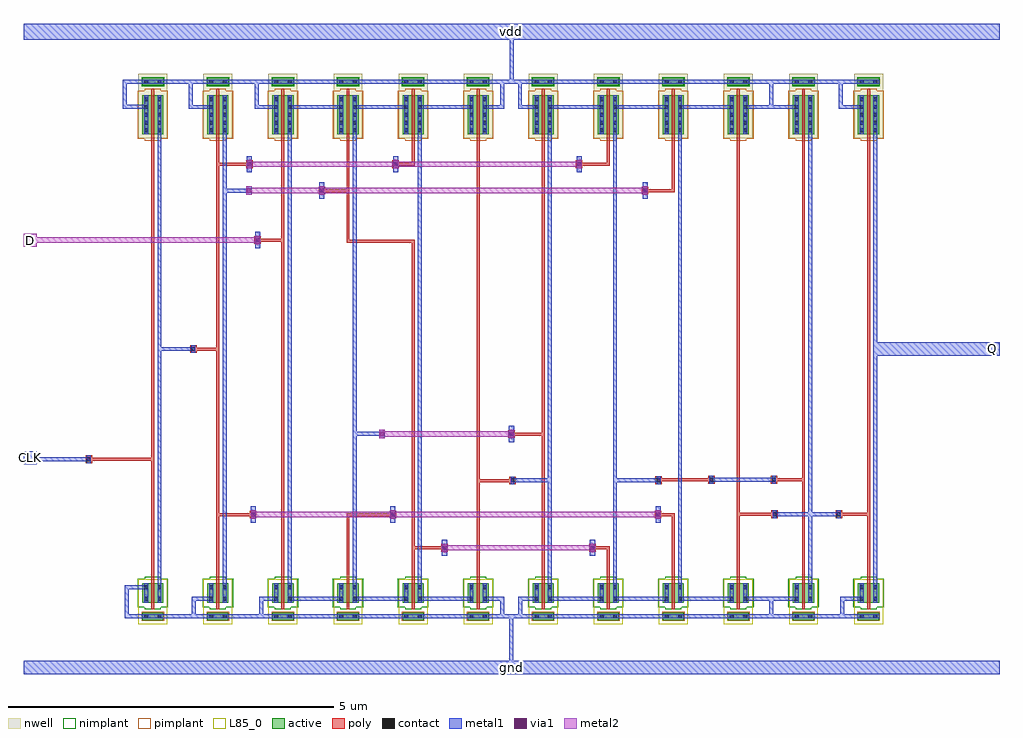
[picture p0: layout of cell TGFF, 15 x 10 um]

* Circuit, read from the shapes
.subckt TGFF CLK D Q gnd vdd
M1 nmos1v_3_CDNS_777985834760_1/D_drain_1 CLK gnd gnd nfet w=0.3u l=0.045u
M2 nmos1v_3_CDNS_777985834760_0/D_drain_1 nmos1v_3_CDNS_777985834760_1/D_drain_1 gnd gnd nfet w=0.3u l=0.045u
M3 nmos1v_3_CDNS_777985834760_10/D_drain_1 D gnd gnd nfet w=0.3u l=0.045u
M4 nmos1v_3_CDNS_777985834760_2/D_drain_1 nmos1v_3_CDNS_777985834760_1/D_drain_1 nmos1v_3_CDNS_777985834760_10/D_drain_1 gnd nfet w=0.3u l=0.045u
M5 nmos1v_3_CDNS_777985834760_6/D_drain_1 nmos1v_3_CDNS_777985834760_0/D_drain_1 nmos1v_3_CDNS_777985834760_2/D_drain_1 gnd nfet w=0.3u l=0.045u
M6 gnd nmos1v_3_CDNS_777985834760_4/D_drain_1 nmos1v_3_CDNS_777985834760_6/D_drain_1 gnd nfet w=0.3u l=0.045u
M7 nmos1v_3_CDNS_777985834760_4/D_drain_1 nmos1v_3_CDNS_777985834760_2/D_drain_1 gnd gnd nfet w=0.3u l=0.045u
M8 nmos1v_3_CDNS_777985834760_5/D_drain_1 nmos1v_3_CDNS_777985834760_0/D_drain_1 nmos1v_3_CDNS_777985834760_4/D_drain_1 gnd nfet w=0.3u l=0.045u
M9 nmos1v_3_CDNS_777985834760_3/D_drain_1 nmos1v_3_CDNS_777985834760_1/D_drain_1 nmos1v_3_CDNS_777985834760_5/D_drain_1 gnd nfet w=0.3u l=0.045u
M10 gnd nmos1v_3_CDNS_777985834760_11/D_drain_1 nmos1v_3_CDNS_777985834760_3/D_drain_1 gnd nfet w=0.3u l=0.045u
M11 nmos1v_3_CDNS_777985834760_11/D_drain_1 nmos1v_3_CDNS_777985834760_5/D_drain_1 gnd gnd nfet w=0.3u l=0.045u
M12 Q nmos1v_3_CDNS_777985834760_11/D_drain_1 gnd gnd nfet w=0.3u l=0.045u
M13 nmos1v_3_CDNS_777985834760_1/D_drain_1 CLK vdd vdd pfet w=0.6u l=0.045u
M14 nmos1v_3_CDNS_777985834760_0/D_drain_1 nmos1v_3_CDNS_777985834760_1/D_drain_1 vdd vdd pfet w=0.6u l=0.045u
M15 nmos1v_3_CDNS_777985834760_10/D_drain_1 D vdd vdd pfet w=0.6u l=0.045u
M16 nmos1v_3_CDNS_777985834760_2/D_drain_1 nmos1v_3_CDNS_777985834760_0/D_drain_1 nmos1v_3_CDNS_777985834760_10/D_drain_1 vdd pfet w=0.6u l=0.045u
M17 nmos1v_3_CDNS_777985834760_6/D_drain_1 nmos1v_3_CDNS_777985834760_1/D_drain_1 nmos1v_3_CDNS_777985834760_2/D_drain_1 vdd pfet w=0.6u l=0.045u
M18 vdd nmos1v_3_CDNS_777985834760_4/D_drain_1 nmos1v_3_CDNS_777985834760_6/D_drain_1 vdd pfet w=0.6u l=0.045u
M19 nmos1v_3_CDNS_777985834760_4/D_drain_1 nmos1v_3_CDNS_777985834760_2/D_drain_1 vdd vdd pfet w=0.6u l=0.045u
M20 nmos1v_3_CDNS_777985834760_5/D_drain_1 nmos1v_3_CDNS_777985834760_1/D_drain_1 nmos1v_3_CDNS_777985834760_4/D_drain_1 vdd pfet w=0.6u l=0.045u
M21 nmos1v_3_CDNS_777985834760_3/D_drain_1 nmos1v_3_CDNS_777985834760_0/D_drain_1 nmos1v_3_CDNS_777985834760_5/D_drain_1 vdd pfet w=0.6u l=0.045u
M22 vdd nmos1v_3_CDNS_777985834760_11/D_drain_1 nmos1v_3_CDNS_777985834760_3/D_drain_1 vdd pfet w=0.6u l=0.045u
M23 nmos1v_3_CDNS_777985834760_11/D_drain_1 nmos1v_3_CDNS_777985834760_5/D_drain_1 vdd vdd pfet w=0.6u l=0.045u
M24 Q nmos1v_3_CDNS_777985834760_11/D_drain_1 vdd vdd pfet w=0.6u l=0.045u
.ends

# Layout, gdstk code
from math import pi, radians
import gdstk
lib = gdstk.Library(unit=1e-6, precision=5e-10)
def R(c, l, rs):  # rectangles x0, y0, x1, y1
    for r in rs: c.add(gdstk.rectangle(r[:2], r[2:], *l))
def A(c, l, x, y, w, h, nx, ny, dx, dy):  # array of equal rectangles
    R(c, l, [(x+i*dx, y+j*dy, x+i*dx+w, y+j*dy+h) for i in range(nx) for j in range(ny)])
def P(c, l, *ps):  # polygons
    for p in ps: c.add(gdstk.Polygon(p, *l))
active = (1, 0)
nwell = (2, 0)
poly = (3, 0)
nimplant = (4, 0)
pimplant = (5, 0)
contact = (6, 0)
metal1 = (7, 0)
via1 = (8, 0)
metal2 = (9, 0)
L85_0 = (85, 0)

nmos1v_3_cdns_7779858347 = lib.new_cell('nmos1v_3_CDNS_777985834760')
R(nmos1v_3_cdns_7779858347, active, [(-0.14,-0.27,0.185,-0.15), (-0.14,0,0,0.3), (0,0,0.045,0.3), (0.045,0,0.185,0.3)])
R(nmos1v_3_cdns_7779858347, poly, [(0,-0.1,0.045,-0.05), (0,-0.05,0.045,0), (0,0,0.045,0.3), (0,0.3,0.045,0.35), (0,0.35,0.045,0.4)])
R(nmos1v_3_cdns_7779858347, nimplant, [(-0.1,-0.1,0.145,0.4), (-0.21,-0.07,0.255,0.37)])
R(nmos1v_3_cdns_7779858347, pimplant, [(-0.15,-0.28,0.195,-0.14)])
R(nmos1v_3_cdns_7779858347, contact, [(-0.11,-0.24,-0.05,-0.18), (0.095,-0.24,0.155,-0.18), (-0.11,0.03,-0.05,0.09), (0.095,0.03,0.155,0.09), (-0.11,0.21,-0.05,0.27), (0.095,0.21,0.155,0.27)])
R(nmos1v_3_cdns_7779858347, metal1, [(-0.14,-0.24,0.185,-0.18), (-0.11,0,-0.05,0.3), (0.095,0,0.155,0.3)])
R(nmos1v_3_cdns_7779858347, L85_0, [(-0.2,-0.33,0.245,0.36)])
nmos1v_3_cdns_7779858347.add(gdstk.Label('B_botTap', (0.0225,-0.21), layer=1, texttype=0))
nmos1v_3_cdns_7779858347.add(gdstk.Label('D_drain_1', (0.115,0.15), layer=1, texttype=0))
nmos1v_3_cdns_7779858347.add(gdstk.Label('S_source_0', (-0.07,0.15), layer=1, texttype=0))
nmos1v_3_cdns_7779858347.add(gdstk.Label('G_gate_1', (0.0225,-0.075), layer=3, texttype=0))
nmos1v_3_cdns_7779858347.add(gdstk.Label('G_gate_1', (0.0225,0.375), layer=3, texttype=0))
nmos1v_3_cdns_7779858347.add(gdstk.Label('B_botTap', (0.0225,-0.21), layer=7, texttype=0))
nmos1v_3_cdns_7779858347.add(gdstk.Label('D_drain_1', (0.125,0.15), layer=7, texttype=0))
nmos1v_3_cdns_7779858347.add(gdstk.Label('S_source_0', (-0.08,0.15), layer=7, texttype=0))
nmos1v_3_cdns_7779858347.add(gdstk.Label('B_botTap', (0.0225,0.015), layer=85, texttype=0))

pmos1v_3_cdns_7779858347 = lib.new_cell('pmos1v_3_CDNS_777985834761')
R(pmos1v_3_cdns_7779858347, active, [(-0.14,0,0,0.6), (0,0,0.045,0.6), (0.045,0,0.185,0.6), (-0.14,0.75,0.185,0.87)])
R(pmos1v_3_cdns_7779858347, nwell, [(-0.2,-0.06,0.245,0.93)])
R(pmos1v_3_cdns_7779858347, poly, [(0,-0.1,0.045,-0.05), (0,-0.05,0.045,0), (0,0,0.045,0.6), (0,0.6,0.045,0.65), (0,0.65,0.045,0.7)])
R(pmos1v_3_cdns_7779858347, nimplant, [(-0.15,0.74,0.195,0.88)])
R(pmos1v_3_cdns_7779858347, pimplant, [(-0.1,-0.1,0.145,0.7), (-0.21,-0.07,0.255,0.67)])
A(pmos1v_3_cdns_7779858347, contact, -0.11, 0.03, 0.06, 0.06, 1, 5, 0, 0.12)
A(pmos1v_3_cdns_7779858347, contact, 0.095, 0.03, 0.06, 0.06, 1, 5, 0, 0.12)
R(pmos1v_3_cdns_7779858347, contact, [(-0.11,0.78,-0.05,0.84), (0.095,0.78,0.155,0.84)])
R(pmos1v_3_cdns_7779858347, metal1, [(-0.11,0,-0.05,0.6), (0.095,0,0.155,0.6), (-0.14,0.78,0.185,0.84)])
pmos1v_3_cdns_7779858347.add(gdstk.Label('B_topTap', (0.0225,0.81), layer=1, texttype=0))
pmos1v_3_cdns_7779858347.add(gdstk.Label('D_drain_1', (0.115,0.3), layer=1, texttype=0))
pmos1v_3_cdns_7779858347.add(gdstk.Label('S_source_0', (-0.07,0.3), layer=1, texttype=0))
pmos1v_3_cdns_7779858347.add(gdstk.Label('G_gate_1', (0.0225,-0.075), layer=3, texttype=0))
pmos1v_3_cdns_7779858347.add(gdstk.Label('G_gate_1', (0.0225,0.675), layer=3, texttype=0))
pmos1v_3_cdns_7779858347.add(gdstk.Label('B_topTap', (0.0225,0.81), layer=7, texttype=0))
pmos1v_3_cdns_7779858347.add(gdstk.Label('D_drain_1', (0.125,0.3), layer=7, texttype=0))
pmos1v_3_cdns_7779858347.add(gdstk.Label('S_source_0', (-0.08,0.3), layer=7, texttype=0))
pmos1v_3_cdns_7779858347.add(gdstk.Label('B_topTap', (0.0225,0.435), layer=2, texttype=0))

m1_po_cdns_777985834760 = lib.new_cell('M1_PO_CDNS_777985834760')
R(m1_po_cdns_777985834760, poly, [(-0.05,-0.06,0.05,0.06)])
R(m1_po_cdns_777985834760, contact, [(-0.03,-0.03,0.03,0.03)])
R(m1_po_cdns_777985834760, metal1, [(-0.03,-0.06,0.03,0.06)])

m2_m1_cdns_777985834761 = lib.new_cell('M2_M1_CDNS_777985834761')
R(m2_m1_cdns_777985834761, metal1, [(-0.04,-0.125,0.04,0.125)])
R(m2_m1_cdns_777985834761, via1, [(-0.035,-0.035,0.035,0.035)])
R(m2_m1_cdns_777985834761, metal2, [(-0.04,-0.065,0.04,0.065)])

m1_po_cdns_777985834762 = lib.new_cell('M1_PO_CDNS_777985834762')
R(m1_po_cdns_777985834762, poly, [(-0.05,-0.06,0.05,0.06)])
R(m1_po_cdns_777985834762, contact, [(-0.03,-0.03,0.03,0.03)])
R(m1_po_cdns_777985834762, metal1, [(-0.04,-0.125,0.04,0.125)])

m2_m1_cdns_777985834763 = lib.new_cell('M2_M1_CDNS_777985834763')
R(m2_m1_cdns_777985834763, metal1, [(-0.04,-0.065,0.04,0.065)])
R(m2_m1_cdns_777985834763, via1, [(-0.035,-0.035,0.035,0.035)])
R(m2_m1_cdns_777985834763, metal2, [(-0.04,-0.065,0.04,0.065)])

tgff = lib.new_cell('TGFF')
P(tgff, poly, [(4.965,6.635),(4.965,8.2125),(4.975,8.2225),(5,8.2225),(5.01,8.2125),(5.01,6.635)])
R(tgff, metal1, [(0,0,15,0.21), (0,3.23,0.2,3.43), (14.8,4.9,15,5.1), (0,9.75,15,10)])
R(tgff, metal2, [(0,6.57,0.2,6.77)])
tgff.add(gdstk.FlexPath([(7.9875,1.5),(7.9875,3.6925)], 0.045, ends=(0, 0.0225), simple_path=True, layer=3, datatype=0))  # poly
tgff.add(gdstk.FlexPath([(7.5,3.6925),(7.9875,3.6925)], 0.045, ends=(0, 0.0225), simple_path=True, layer=3, datatype=0))  # poly
tgff.add(gdstk.FlexPath([(8.9875,7.8375),(8.54,7.8375)], 0.045, ends=(0.0225, 0), simple_path=True, layer=3, datatype=0))  # poly
tgff.add(gdstk.FlexPath([(8.9875,8.2),(8.9875,7.8375)], 0.045, ends=(0, 0.0225), simple_path=True, layer=3, datatype=0))  # poly
tgff.add(gdstk.FlexPath([(2.9875,8.2),(2.9875,7.8375)], 0.045, ends=(0, 0.0225), simple_path=True, layer=3, datatype=0))  # poly
tgff.add(gdstk.FlexPath([(3.47,7.8375),(2.9875,7.8375)], 0.045, ends=(0, 0.0225), simple_path=True, layer=3, datatype=0))  # poly
tgff.add(gdstk.FlexPath([(5.72,7.8375),(5.9875,7.8375)], 0.045, ends=(0, 0.0225), simple_path=True, layer=3, datatype=0))  # poly
tgff.add(gdstk.FlexPath([(5.9875,7.8375),(5.9875,8.2)], 0.045, ends=(0.0225, 0), simple_path=True, layer=3, datatype=0))  # poly
tgff.add(gdstk.FlexPath([(5.9875,6.6575),(5.9875,1.9425)], 0.045, ends="extended", simple_path=True, layer=3, datatype=0))  # poly
tgff.add(gdstk.FlexPath([(4.9875,6.6575),(4.985,6.6575)], 0.045, ends=(0.0225, 0), simple_path=True, layer=3, datatype=0))  # poly
tgff.add(gdstk.FlexPath([(4.9875,6.6575),(5.9875,6.6575)], 0.045, ends="extended", simple_path=True, layer=3, datatype=0))  # poly
tgff.add(gdstk.FlexPath([(5.9875,1.9425),(5.9875,1.5)], 0.045, ends=(0.0225, 0), simple_path=True, layer=3, datatype=0))  # poly
tgff.add(gdstk.FlexPath([(2.9875,7.8375),(2.9875,4.9975)], 0.045, ends="extended", simple_path=True, layer=3, datatype=0))  # poly
tgff.add(gdstk.FlexPath([(2.61,4.9975),(2.9875,4.9975)], 0.045, ends=(0, 0.0225), simple_path=True, layer=3, datatype=0))  # poly
tgff.add(gdstk.FlexPath([(2.9875,4.9975),(2.9875,2.4525)], 0.045, ends="extended", simple_path=True, layer=3, datatype=0))  # poly
tgff.add(gdstk.FlexPath([(3.53,2.4525),(2.9875,2.4525)], 0.045, ends=(0, 0.0225), simple_path=True, layer=3, datatype=0))  # poly
tgff.add(gdstk.FlexPath([(8.9875,1.9425),(8.745,1.9425)], 0.045, ends=(0.0225, 0), simple_path=True, layer=3, datatype=0))  # poly
tgff.add(gdstk.FlexPath([(4.9875,2.4525),(4.9875,1.5)], 0.045, ends=(0.0225, 0), simple_path=True, layer=3, datatype=0))  # poly
tgff.add(gdstk.FlexPath([(5.675,2.4525),(4.9875,2.4525)], 0.045, ends=(0, 0.0225), simple_path=True, layer=3, datatype=0))  # poly
tgff.add(gdstk.FlexPath([(9.9875,2.4525),(9.9875,1.5)], 0.045, ends=(0.0225, 0), simple_path=True, layer=3, datatype=0))  # poly
tgff.add(gdstk.FlexPath([(9.755,2.4525),(9.9875,2.4525)], 0.045, ends=(0, 0.0225), simple_path=True, layer=3, datatype=0))  # poly
tgff.add(gdstk.FlexPath([(9.9875,7.4325),(9.9875,8.2)], 0.045, ends=(0.0225, 0), simple_path=True, layer=3, datatype=0))  # poly
tgff.add(gdstk.FlexPath([(9.555,7.4325),(9.9875,7.4325)], 0.045, ends=(0, 0.0225), simple_path=True, layer=3, datatype=0))  # poly
tgff.add(gdstk.FlexPath([(4.9875,7.4325),(4.585,7.4325)], 0.045, ends=(0.0225, 0), simple_path=True, layer=3, datatype=0))  # poly
tgff.add(gdstk.FlexPath([(8.9875,1.5),(8.9875,1.9425)], 0.045, ends=(0, 0.0225), simple_path=True, layer=3, datatype=0))  # poly
tgff.add(gdstk.FlexPath([(3.9875,8.2),(3.9875,6.6725)], 0.045, ends=(0, 0.0225), simple_path=True, layer=3, datatype=0))  # poly
tgff.add(gdstk.FlexPath([(3.6,6.6725),(3.9875,6.6725)], 0.045, ends=(0, 0.0225), simple_path=True, layer=3, datatype=0))  # poly
tgff.add(gdstk.FlexPath([(1.9875,8.2),(1.9875,3.3025)], 0.045, ends=(0, 0.0225), simple_path=True, layer=3, datatype=0))  # poly
tgff.add(gdstk.FlexPath([(1.005,3.3025),(1.9875,3.3025)], 0.045, ends=(0, 0.0225), simple_path=True, layer=3, datatype=0))  # poly
tgff.add(gdstk.FlexPath([(6.9875,8.2),(6.9875,2.9775)], 0.045, ends=(0, 0.0225), simple_path=True, layer=3, datatype=0))  # poly
tgff.add(gdstk.FlexPath([(7.515,2.9775),(6.9875,2.9775)], 0.045, ends=(0, 0.0225), simple_path=True, layer=3, datatype=0))  # poly
tgff.add(gdstk.FlexPath([(9.7575,2.9875),(9.7575,2.985)], 0.045, ends=(0.0225, 0), simple_path=True, layer=3, datatype=0))  # poly
tgff.add(gdstk.FlexPath([(10.57,2.9875),(9.7575,2.9875)], 0.045, ends=(0, 0.0225), simple_path=True, layer=3, datatype=0))  # poly
tgff.add(gdstk.FlexPath([(6.47,1.9425),(5.9875,1.9425)], 0.045, ends=(0, 0.0225), simple_path=True, layer=3, datatype=0))  # poly
tgff.add(gdstk.FlexPath([(11.535,2.9875),(11.9875,2.9875)], 0.045, ends=(0, 0.0225), simple_path=True, layer=3, datatype=0))  # poly
tgff.add(gdstk.FlexPath([(10.9875,8.2),(10.9875,2.4575)], 0.045, ends=(0, 0.0225), simple_path=True, layer=3, datatype=0))  # poly
tgff.add(gdstk.FlexPath([(11.545,2.4575),(10.9875,2.4575)], 0.045, ends=(0, 0.0225), simple_path=True, layer=3, datatype=0))  # poly
tgff.add(gdstk.FlexPath([(12.9875,8.2),(12.9875,2.4575)], 0.045, ends=(0, 0.0225), simple_path=True, layer=3, datatype=0))  # poly
tgff.add(gdstk.FlexPath([(12.53,2.4575),(12.9875,2.4575)], 0.045, ends=(0, 0.0225), simple_path=True, layer=3, datatype=0))  # poly
tgff.add(gdstk.FlexPath([(12.9875,2.4575),(12.9875,1.5)], 0.045, ends=(0.0225, 0), simple_path=True, layer=3, datatype=0))  # poly
tgff.add(gdstk.FlexPath([(11.9875,1.5),(11.9875,8.2)], 0.045, ends="flush", simple_path=True, layer=3, datatype=0))  # poly
tgff.add(gdstk.FlexPath([(10.9875,2.4575),(10.9875,1.5)], 0.045, ends=(0.0225, 0), simple_path=True, layer=3, datatype=0))  # poly
tgff.add(gdstk.FlexPath([(7.9875,3.6925),(7.9875,8.2)], 0.045, ends=(0.0225, 0), simple_path=True, layer=3, datatype=0))  # poly
tgff.add(gdstk.FlexPath([(6.9875,2.9775),(6.9875,1.5)], 0.045, ends=(0.0225, 0), simple_path=True, layer=3, datatype=0))  # poly
tgff.add(gdstk.FlexPath([(3.9875,6.6725),(3.9875,1.5)], 0.045, ends=(0.0225, 0), simple_path=True, layer=3, datatype=0))  # poly
tgff.add(gdstk.FlexPath([(2.9875,2.4525),(2.9875,1.5)], 0.045, ends=(0.0225, 0), simple_path=True, layer=3, datatype=0))  # poly
tgff.add(gdstk.FlexPath([(1.9875,3.3025),(1.9875,1.5)], 0.045, ends=(0.0225, 0), simple_path=True, layer=3, datatype=0))  # poly
tgff.add(gdstk.FlexPath([(5.51,3.695),(5.09,3.695)], 0.06, ends=(0, 0.03), simple_path=True, layer=7, datatype=0))  # metal1
tgff.add(gdstk.FlexPath([(5.09,3.695),(5.09,1.4)], 0.06, ends=(0.03, 0), simple_path=True, layer=7, datatype=0))  # metal1
tgff.add(gdstk.FlexPath([(2.09,8.3),(2.09,5)], 0.06, ends=(0, 0.03), simple_path=True, layer=7, datatype=0))  # metal1
tgff.add(gdstk.FlexPath([(2.61,5),(2.09,5)], 0.06, ends=(0, 0.03), simple_path=True, layer=7, datatype=0))  # metal1
tgff.add(gdstk.FlexPath([(3.09,7.435),(3.465,7.435)], 0.06, ends=(0.03, 0), simple_path=True, layer=7, datatype=0))  # metal1
tgff.add(gdstk.FlexPath([(3.09,7.435),(3.09,1.4)], 0.06, ends=(0.03, 0), simple_path=True, layer=7, datatype=0))  # metal1
tgff.add(gdstk.FlexPath([(8.15,9.11),(11.495,9.11)], 0.06, ends=(0, 0.03), simple_path=True, layer=7, datatype=0))  # metal1
tgff.add(gdstk.FlexPath([(1.005,3.305),(0.2,3.305)], 0.06, ends="flush", simple_path=True, layer=7, datatype=0))  # metal1
tgff.add(gdstk.FlexPath([(8.09,8.3),(8.09,2.98)], 0.06, ends=(0, 0.03), simple_path=True, layer=7, datatype=0))  # metal1
tgff.add(gdstk.FlexPath([(7.515,2.98),(8.09,2.98)], 0.06, ends=(0, 0.03), simple_path=True, layer=7, datatype=0))  # metal1
tgff.add(gdstk.FlexPath([(9.76,2.985),(9.09,2.985)], 0.06, ends=(0, 0.03), simple_path=True, layer=7, datatype=0))  # metal1
tgff.add(gdstk.FlexPath([(10.57,2.99),(11.535,2.99)], 0.06, ends="flush", simple_path=True, layer=7, datatype=0))  # metal1
tgff.add(gdstk.FlexPath([(11.545,2.46),(12.09,2.46)], 0.06, ends=(0, 0.03), simple_path=True, layer=7, datatype=0))  # metal1
tgff.add(gdstk.FlexPath([(12.09,8.3),(12.09,2.46)], 0.06, ends=(0, 0.03), simple_path=True, layer=7, datatype=0))  # metal1
tgff.add(gdstk.FlexPath([(12.53,2.46),(12.09,2.46)], 0.06, ends=(0, 0.03), simple_path=True, layer=7, datatype=0))  # metal1
tgff.add(gdstk.FlexPath([(11.49,0.89),(12.585,0.89)], 0.06, ends="extended", simple_path=True, layer=7, datatype=0))  # metal1
tgff.add(gdstk.FlexPath([(12.585,1.16),(12.585,0.89)], 0.06, ends="extended", simple_path=True, layer=7, datatype=0))  # metal1
tgff.add(gdstk.FlexPath([(12.885,1.16),(12.585,1.16)], 0.06, ends="extended", simple_path=True, layer=7, datatype=0))  # metal1
tgff.add(gdstk.FlexPath([(8.15,0.89),(11.49,0.89)], 0.06, ends=(0, 0.03), simple_path=True, layer=7, datatype=0))  # metal1
tgff.add(gdstk.FlexPath([(11.49,1.16),(11.49,0.89)], 0.06, ends="extended", simple_path=True, layer=7, datatype=0))  # metal1
tgff.add(gdstk.FlexPath([(11.49,1.16),(11.915,1.16)], 0.06, ends=(0.03, 0), simple_path=True, layer=7, datatype=0))  # metal1
tgff.add(gdstk.FlexPath([(11.09,1.16),(11.49,1.16)], 0.06, ends="extended", simple_path=True, layer=7, datatype=0))  # metal1
tgff.add(gdstk.FlexPath([(10.09,1.16),(10.915,1.16)], 0.06, ends=(0.03, 0), simple_path=True, layer=7, datatype=0))  # metal1
tgff.add(gdstk.FlexPath([(9.885,1.16),(9.885,1.1)], 0.06, ends=(0.03, 0), simple_path=True, layer=7, datatype=0))  # metal1
tgff.add(gdstk.FlexPath([(9.09,1.16),(9.885,1.16)], 0.06, ends="extended", simple_path=True, layer=7, datatype=0))  # metal1
tgff.add(gdstk.FlexPath([(8.09,1.16),(8.915,1.16)], 0.06, ends=(0.03, 0), simple_path=True, layer=7, datatype=0))  # metal1
tgff.add(gdstk.FlexPath([(7.495,0.89),(7.635,0.89)], 0.06, ends="extended", simple_path=True, layer=7, datatype=0))  # metal1
tgff.add(gdstk.FlexPath([(7.635,1.16),(7.635,0.89)], 0.06, ends="extended", simple_path=True, layer=7, datatype=0))  # metal1
tgff.add(gdstk.FlexPath([(7.885,1.16),(7.635,1.16)], 0.06, ends="extended", simple_path=True, layer=7, datatype=0))  # metal1
tgff.add(gdstk.FlexPath([(7.15,0.89),(7.355,0.89)], 0.06, ends=(0, 0.03), simple_path=True, layer=7, datatype=0))  # metal1
tgff.add(gdstk.FlexPath([(7.355,1.16),(7.355,0.89)], 0.06, ends="extended", simple_path=True, layer=7, datatype=0))  # metal1
tgff.add(gdstk.FlexPath([(7.09,1.16),(7.355,1.16)], 0.06, ends="extended", simple_path=True, layer=7, datatype=0))  # metal1
tgff.add(gdstk.FlexPath([(6.885,1.16),(6.885,1.1)], 0.06, ends=(0.03, 0), simple_path=True, layer=7, datatype=0))  # metal1
tgff.add(gdstk.FlexPath([(6.09,1.16),(6.885,1.16)], 0.06, ends="extended", simple_path=True, layer=7, datatype=0))  # metal1
tgff.add(gdstk.FlexPath([(5.09,1.16),(5.915,1.16)], 0.06, ends=(0.03, 0), simple_path=True, layer=7, datatype=0))  # metal1
tgff.add(gdstk.FlexPath([(4.09,1.16),(4.855,1.16)], 0.06, ends=(0.03, 0), simple_path=True, layer=7, datatype=0))  # metal1
tgff.add(gdstk.FlexPath([(6.825,0.89),(3.655,0.89)], 0.06, ends=(0, 0.03), simple_path=True, layer=7, datatype=0))  # metal1
tgff.add(gdstk.FlexPath([(3.655,1.16),(3.655,0.89)], 0.06, ends="extended", simple_path=True, layer=7, datatype=0))  # metal1
tgff.add(gdstk.FlexPath([(3.885,1.16),(3.655,1.16)], 0.06, ends="extended", simple_path=True, layer=7, datatype=0))  # metal1
tgff.add(gdstk.FlexPath([(3.655,0.89),(2.615,0.89)], 0.06, ends="extended", simple_path=True, layer=7, datatype=0))  # metal1
tgff.add(gdstk.FlexPath([(2.615,1.16),(2.615,0.89)], 0.06, ends="extended", simple_path=True, layer=7, datatype=0))  # metal1
tgff.add(gdstk.FlexPath([(2.885,1.16),(2.615,1.16)], 0.06, ends="extended", simple_path=True, layer=7, datatype=0))  # metal1
tgff.add(gdstk.FlexPath([(1.585,0.89),(1.825,0.89)], 0.06, ends=(0.03, 0), simple_path=True, layer=7, datatype=0))  # metal1
tgff.add(gdstk.FlexPath([(1.585,1.34),(1.585,0.89)], 0.06, ends="extended", simple_path=True, layer=7, datatype=0))  # metal1
tgff.add(gdstk.FlexPath([(1.885,1.34),(1.585,1.34)], 0.06, ends="extended", simple_path=True, layer=7, datatype=0))  # metal1
tgff.add(gdstk.FlexPath([(13.09,1.4),(13.09,5)], 0.06, ends=(0, 0.1), simple_path=True, layer=7, datatype=0))  # metal1
tgff.add(gdstk.FlexPath([(14.8,5),(13.09,5)], 0.2, ends=(0, 0.03), simple_path=True, layer=7, datatype=0))  # metal1
tgff.add(gdstk.FlexPath([(13.09,5),(13.09,8.3)], 0.06, ends=(0.1, 0), simple_path=True, layer=7, datatype=0))  # metal1
tgff.add(gdstk.FlexPath([(6.09,8.72),(6.915,8.72)], 0.06, ends=(0.03, 0), simple_path=True, layer=7, datatype=0))  # metal1
tgff.add(gdstk.FlexPath([(5.09,8.72),(5.915,8.72)], 0.06, ends=(0.03, 0), simple_path=True, layer=7, datatype=0))  # metal1
tgff.add(gdstk.FlexPath([(4.09,8.72),(4.915,8.72)], 0.06, ends=(0.03, 0), simple_path=True, layer=7, datatype=0))  # metal1
tgff.add(gdstk.FlexPath([(11.495,9.11),(12.56,9.11)], 0.06, ends="extended", simple_path=True, layer=7, datatype=0))  # metal1
tgff.add(gdstk.FlexPath([(12.56,8.72),(12.56,9.11)], 0.06, ends="extended", simple_path=True, layer=7, datatype=0))  # metal1
tgff.add(gdstk.FlexPath([(12.885,8.72),(12.56,8.72)], 0.06, ends="extended", simple_path=True, layer=7, datatype=0))  # metal1
tgff.add(gdstk.FlexPath([(11.495,8.72),(11.495,9.11)], 0.06, ends="extended", simple_path=True, layer=7, datatype=0))  # metal1
tgff.add(gdstk.FlexPath([(11.885,8.72),(11.495,8.72)], 0.06, ends="extended", simple_path=True, layer=7, datatype=0))  # metal1
tgff.add(gdstk.FlexPath([(11.495,8.72),(11.06,8.72)], 0.06, ends=(0.03, 0), simple_path=True, layer=7, datatype=0))  # metal1
tgff.add(gdstk.FlexPath([(10.09,8.72),(10.915,8.72)], 0.06, ends=(0.03, 0), simple_path=True, layer=7, datatype=0))  # metal1
tgff.add(gdstk.FlexPath([(9.09,8.72),(9.855,8.72)], 0.06, ends=(0.03, 0), simple_path=True, layer=7, datatype=0))  # metal1
tgff.add(gdstk.FlexPath([(8.885,8.72),(8.06,8.72)], 0.06, ends=(0.03, 0), simple_path=True, layer=7, datatype=0))  # metal1
tgff.add(gdstk.FlexPath([(7.505,9.11),(7.63,9.11)], 0.06, ends="extended", simple_path=True, layer=7, datatype=0))  # metal1
tgff.add(gdstk.FlexPath([(7.63,8.72),(7.63,9.11)], 0.06, ends="extended", simple_path=True, layer=7, datatype=0))  # metal1
tgff.add(gdstk.FlexPath([(7.885,8.72),(7.63,8.72)], 0.06, ends="extended", simple_path=True, layer=7, datatype=0))  # metal1
tgff.add(gdstk.FlexPath([(7.15,9.11),(7.355,9.11)], 0.06, ends=(0, 0.03), simple_path=True, layer=7, datatype=0))  # metal1
tgff.add(gdstk.FlexPath([(7.355,8.72),(7.355,9.11)], 0.06, ends="extended", simple_path=True, layer=7, datatype=0))  # metal1
tgff.add(gdstk.FlexPath([(7.09,8.72),(7.355,8.72)], 0.06, ends="extended", simple_path=True, layer=7, datatype=0))  # metal1
tgff.add(gdstk.FlexPath([(6.825,9.11),(3.585,9.11)], 0.06, ends=(0, 0.03), simple_path=True, layer=7, datatype=0))  # metal1
tgff.add(gdstk.FlexPath([(3.585,8.72),(3.585,9.11)], 0.06, ends="extended", simple_path=True, layer=7, datatype=0))  # metal1
tgff.add(gdstk.FlexPath([(3.885,8.72),(3.585,8.72)], 0.06, ends="extended", simple_path=True, layer=7, datatype=0))  # metal1
tgff.add(gdstk.FlexPath([(3.585,9.11),(2.57,9.11)], 0.06, ends="extended", simple_path=True, layer=7, datatype=0))  # metal1
tgff.add(gdstk.FlexPath([(2.57,8.72),(2.57,9.11)], 0.06, ends="extended", simple_path=True, layer=7, datatype=0))  # metal1
tgff.add(gdstk.FlexPath([(2.885,8.72),(2.57,8.72)], 0.06, ends="extended", simple_path=True, layer=7, datatype=0))  # metal1
tgff.add(gdstk.FlexPath([(1.555,9.11),(1.825,9.11)], 0.06, ends=(0.03, 0), simple_path=True, layer=7, datatype=0))  # metal1
tgff.add(gdstk.FlexPath([(1.555,8.725),(1.555,9.11)], 0.06, ends="extended", simple_path=True, layer=7, datatype=0))  # metal1
tgff.add(gdstk.FlexPath([(1.885,8.725),(1.555,8.725)], 0.06, ends="extended", simple_path=True, layer=7, datatype=0))  # metal1
tgff.add(gdstk.FlexPath([(10.09,8.3),(10.09,1.4)], 0.06, ends="flush", simple_path=True, layer=7, datatype=0))  # metal1
tgff.add(gdstk.FlexPath([(9.09,8.3),(9.09,1.4)], 0.06, ends="flush", simple_path=True, layer=7, datatype=0))  # metal1
tgff.add(gdstk.FlexPath([(8.09,2.98),(8.09,1.4)], 0.06, ends=(0.03, 0), simple_path=True, layer=7, datatype=0))  # metal1
tgff.add(gdstk.FlexPath([(12.09,2.46),(12.09,1.4)], 0.06, ends=(0.03, 0), simple_path=True, layer=7, datatype=0))  # metal1
tgff.add(gdstk.FlexPath([(6.09,8.3),(6.09,1.4)], 0.06, ends="flush", simple_path=True, layer=7, datatype=0))  # metal1
tgff.add(gdstk.FlexPath([(5.09,8.3),(5.09,3.695)], 0.06, ends=(0, 0.03), simple_path=True, layer=7, datatype=0))  # metal1
tgff.add(gdstk.FlexPath([(4.09,8.3),(4.09,1.4)], 0.06, ends="flush", simple_path=True, layer=7, datatype=0))  # metal1
tgff.add(gdstk.FlexPath([(3.09,8.3),(3.09,7.435)], 0.06, ends=(0, 0.03), simple_path=True, layer=7, datatype=0))  # metal1
tgff.add(gdstk.FlexPath([(2.09,5),(2.09,1.4)], 0.06, ends=(0.03, 0), simple_path=True, layer=7, datatype=0))  # metal1
tgff.add(gdstk.FlexPath([(2.57,9.11),(2.15,9.11)], 0.06, ends=(0.03, 0), simple_path=True, layer=7, datatype=0))  # metal1
tgff.add(gdstk.FlexPath([(12.56,9.11),(12.825,9.11)], 0.06, ends=(0.03, 0), simple_path=True, layer=7, datatype=0))  # metal1
tgff.add(gdstk.FlexPath([(7.505,9.11),(7.505,9.75)], 0.06, ends=(0.03, 0), simple_path=True, layer=7, datatype=0))  # metal1
tgff.add(gdstk.FlexPath([(7.63,9.11),(7.825,9.11)], 0.06, ends=(0.03, 0), simple_path=True, layer=7, datatype=0))  # metal1
tgff.add(gdstk.FlexPath([(7.355,9.11),(7.505,9.11)], 0.06, ends="extended", simple_path=True, layer=7, datatype=0))  # metal1
tgff.add(gdstk.FlexPath([(2.615,0.89),(2.15,0.89)], 0.06, ends=(0.03, 0), simple_path=True, layer=7, datatype=0))  # metal1
tgff.add(gdstk.FlexPath([(12.585,0.89),(12.825,0.89)], 0.06, ends=(0.03, 0), simple_path=True, layer=7, datatype=0))  # metal1
tgff.add(gdstk.FlexPath([(7.495,0.89),(7.495,0.21)], 0.06, ends=(0.03, 0), simple_path=True, layer=7, datatype=0))  # metal1
tgff.add(gdstk.FlexPath([(7.635,0.89),(7.825,0.89)], 0.06, ends=(0.03, 0), simple_path=True, layer=7, datatype=0))  # metal1
tgff.add(gdstk.FlexPath([(7.355,0.89),(7.495,0.89)], 0.06, ends="extended", simple_path=True, layer=7, datatype=0))  # metal1
tgff.add(gdstk.FlexPath([(7.5,3.695),(5.51,3.695)], 0.08, ends="flush", simple_path=True, layer=9, datatype=0))  # metal2
tgff.add(gdstk.FlexPath([(8.54,7.84),(5.72,7.84)], 0.08, ends="flush", simple_path=True, layer=9, datatype=0))  # metal2
tgff.add(gdstk.FlexPath([(3.47,7.84),(5.72,7.84)], 0.08, ends="flush", simple_path=True, layer=9, datatype=0))  # metal2
tgff.add(gdstk.FlexPath([(3.53,2.455),(9.755,2.455)], 0.08, ends="flush", simple_path=True, layer=9, datatype=0))  # metal2
tgff.add(gdstk.FlexPath([(9.555,7.435),(4.585,7.435)], 0.08, ends="flush", simple_path=True, layer=9, datatype=0))  # metal2
tgff.add(gdstk.FlexPath([(3.465,7.435),(4.585,7.435)], 0.08, ends="flush", simple_path=True, layer=9, datatype=0))  # metal2
tgff.add(gdstk.FlexPath([(6.47,1.945),(8.745,1.945)], 0.08, ends="flush", simple_path=True, layer=9, datatype=0))  # metal2
tgff.add(gdstk.FlexPath([(3.6,6.675),(0.2,6.675)], 0.08, ends="flush", simple_path=True, layer=9, datatype=0))  # metal2
tgff.add(gdstk.Reference(nmos1v_3_cdns_7779858347, (2.965,1.1)))
tgff.add(gdstk.Reference(nmos1v_3_cdns_7779858347, (1.965,1.1)))
tgff.add(gdstk.Reference(nmos1v_3_cdns_7779858347, (6.01,1.1), rotation=pi, x_reflection=True))
tgff.add(gdstk.Reference(nmos1v_3_cdns_7779858347, (11.01,1.1), rotation=pi, x_reflection=True))
tgff.add(gdstk.Reference(nmos1v_3_cdns_7779858347, (7.965,1.1)))
tgff.add(gdstk.Reference(nmos1v_3_cdns_7779858347, (10.01,1.1), rotation=pi, x_reflection=True))
tgff.add(gdstk.Reference(nmos1v_3_cdns_7779858347, (7.01,1.1), rotation=pi, x_reflection=True))
tgff.add(gdstk.Reference(nmos1v_3_cdns_7779858347, (5.01,1.1), rotation=pi, x_reflection=True))
tgff.add(gdstk.Reference(nmos1v_3_cdns_7779858347, (12.965,1.1)))
tgff.add(gdstk.Reference(nmos1v_3_cdns_7779858347, (9.01,1.1), rotation=pi, x_reflection=True))
tgff.add(gdstk.Reference(nmos1v_3_cdns_7779858347, (3.965,1.1)))
tgff.add(gdstk.Reference(nmos1v_3_cdns_7779858347, (11.965,1.1)))
tgff.add(gdstk.Reference(pmos1v_3_cdns_7779858347, (2.965,8.3)))
tgff.add(gdstk.Reference(pmos1v_3_cdns_7779858347, (1.965,8.3)))
tgff.add(gdstk.Reference(pmos1v_3_cdns_7779858347, (6.01,8.3), rotation=pi, x_reflection=True))
tgff.add(gdstk.Reference(pmos1v_3_cdns_7779858347, (7.965,8.3)))
tgff.add(gdstk.Reference(pmos1v_3_cdns_7779858347, (7.01,8.3), rotation=pi, x_reflection=True))
tgff.add(gdstk.Reference(pmos1v_3_cdns_7779858347, (9.01,8.3), rotation=pi, x_reflection=True))
tgff.add(gdstk.Reference(pmos1v_3_cdns_7779858347, (12.965,8.3)))
tgff.add(gdstk.Reference(pmos1v_3_cdns_7779858347, (10.01,8.3), rotation=pi, x_reflection=True))
tgff.add(gdstk.Reference(pmos1v_3_cdns_7779858347, (11.01,8.3), rotation=pi, x_reflection=True))
tgff.add(gdstk.Reference(pmos1v_3_cdns_7779858347, (5.01,8.3), rotation=pi, x_reflection=True))
tgff.add(gdstk.Reference(pmos1v_3_cdns_7779858347, (11.965,8.3)))
tgff.add(gdstk.Reference(pmos1v_3_cdns_7779858347, (3.965,8.3)))
tgff.add(gdstk.Reference(m1_po_cdns_777985834760, (2.61,5)))
tgff.add(gdstk.Reference(m1_po_cdns_777985834760, (1.005,3.305)))
tgff.add(gdstk.Reference(m1_po_cdns_777985834760, (7.515,2.98)))
tgff.add(gdstk.Reference(m1_po_cdns_777985834760, (9.76,2.985)))
tgff.add(gdstk.Reference(m1_po_cdns_777985834760, (10.57,2.99)))
tgff.add(gdstk.Reference(m1_po_cdns_777985834760, (11.535,2.99)))
tgff.add(gdstk.Reference(m1_po_cdns_777985834760, (11.545,2.46)))
tgff.add(gdstk.Reference(m1_po_cdns_777985834760, (12.53,2.46)))
tgff.add(gdstk.Reference(m2_m1_cdns_777985834761, (7.5,3.695)))
tgff.add(gdstk.Reference(m2_m1_cdns_777985834761, (8.54,7.84)))
tgff.add(gdstk.Reference(m2_m1_cdns_777985834761, (3.47,7.84)))
tgff.add(gdstk.Reference(m2_m1_cdns_777985834761, (5.72,7.84)))
tgff.add(gdstk.Reference(m2_m1_cdns_777985834761, (6.47,1.945)))
tgff.add(gdstk.Reference(m2_m1_cdns_777985834761, (8.745,1.945)))
tgff.add(gdstk.Reference(m2_m1_cdns_777985834761, (3.53,2.455)))
tgff.add(gdstk.Reference(m2_m1_cdns_777985834761, (5.675,2.455)))
tgff.add(gdstk.Reference(m2_m1_cdns_777985834761, (9.755,2.455)))
tgff.add(gdstk.Reference(m2_m1_cdns_777985834761, (9.555,7.435)))
tgff.add(gdstk.Reference(m2_m1_cdns_777985834761, (4.585,7.435)))
tgff.add(gdstk.Reference(m2_m1_cdns_777985834761, (3.6,6.675)))
tgff.add(gdstk.Reference(m1_po_cdns_777985834762, (7.5,3.695)))
tgff.add(gdstk.Reference(m1_po_cdns_777985834762, (8.54,7.84)))
tgff.add(gdstk.Reference(m1_po_cdns_777985834762, (3.47,7.84)))
tgff.add(gdstk.Reference(m1_po_cdns_777985834762, (5.72,7.84)))
tgff.add(gdstk.Reference(m1_po_cdns_777985834762, (6.47,1.945)))
tgff.add(gdstk.Reference(m1_po_cdns_777985834762, (8.745,1.945)))
tgff.add(gdstk.Reference(m1_po_cdns_777985834762, (3.53,2.455)))
tgff.add(gdstk.Reference(m1_po_cdns_777985834762, (5.675,2.455)))
tgff.add(gdstk.Reference(m1_po_cdns_777985834762, (9.755,2.455)))
tgff.add(gdstk.Reference(m1_po_cdns_777985834762, (9.555,7.435)))
tgff.add(gdstk.Reference(m1_po_cdns_777985834762, (4.585,7.435)))
tgff.add(gdstk.Reference(m1_po_cdns_777985834762, (3.6,6.675)))
tgff.add(gdstk.Reference(m2_m1_cdns_777985834763, (5.51,3.695)))
tgff.add(gdstk.Reference(m2_m1_cdns_777985834763, (3.465,7.435)))
tgff.add(gdstk.Label('gnd', (7.5,0.105), layer=7, texttype=0))
tgff.add(gdstk.Label('vdd', (7.5,9.875), layer=7, texttype=0))
tgff.add(gdstk.Label('Q', (14.9,5), layer=7, texttype=0))
tgff.add(gdstk.Label('CLK', (0.1,3.33), layer=7, texttype=0))
tgff.add(gdstk.Label('D', (0.1,6.67), layer=9, texttype=0))

lib.write_gds('TGFF.gds')
